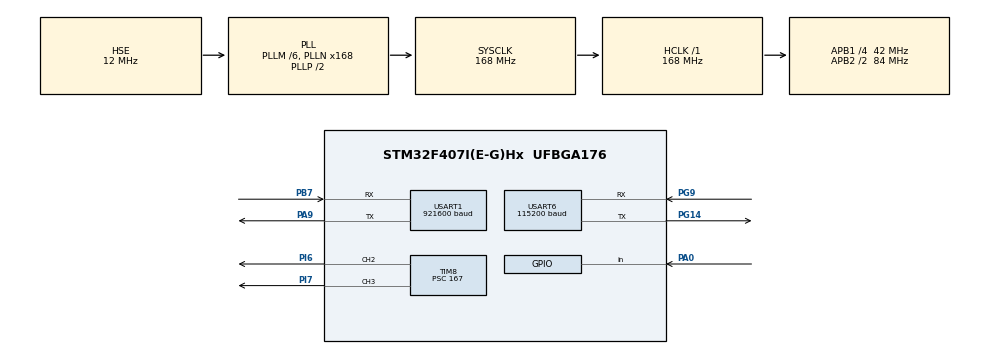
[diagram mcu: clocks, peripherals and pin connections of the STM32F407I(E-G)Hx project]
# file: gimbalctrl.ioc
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Dma.Request0=USART6_TX
Dma.Request1=USART1_RX
Dma.USART1_RX.1.Direction=DMA_PERIPH_TO_MEMORY
Dma.USART1_RX.1.FIFOMode=DMA_FIFOMODE_DISABLE
Dma.USART1_RX.1.Instance=DMA2_Stream2
Dma.USART1_RX.1.MemDataAlignment=DMA_MDATAALIGN_BYTE
Dma.USART1_RX.1.MemInc=DMA_MINC_ENABLE
Dma.USART1_RX.1.Mode=DMA_NORMAL
Dma.USART1_RX.1.PeriphDataAlignment=DMA_PDATAALIGN_BYTE
Dma.USART1_RX.1.PeriphInc=DMA_PINC_DISABLE
Dma.USART1_RX.1.Priority=DMA_PRIORITY_VERY_HIGH
Dma.USART6_TX.0.Direction=DMA_MEMORY_TO_PERIPH
Dma.USART6_TX.0.FIFOMode=DMA_FIFOMODE_DISABLE
Dma.USART6_TX.0.Instance=DMA2_Stream6
Dma.USART6_TX.0.MemDataAlignment=DMA_MDATAALIGN_BYTE
Dma.USART6_TX.0.MemInc=DMA_MINC_ENABLE
Dma.USART6_TX.0.Mode=DMA_NORMAL
Dma.USART6_TX.0.PeriphDataAlignment=DMA_PDATAALIGN_BYTE
Dma.USART6_TX.0.PeriphInc=DMA_PINC_DISABLE
Dma.USART6_TX.0.Priority=DMA_PRIORITY_VERY_HIGH
Mcu.Family=STM32F4
Mcu.Name=STM32F407I(E-G)Hx
Mcu.Package=UFBGA176
NVIC.DMA2_Stream2_IRQn=true\:0\:0\:false\:false\:true\:false\:true\:true
NVIC.DMA2_Stream6_IRQn=true\:0\:0\:false\:false\:true\:false\:true\:true
NVIC.PriorityGroup=NVIC_PRIORITYGROUP_4
NVIC.USART1_IRQn=true\:0\:0\:false\:false\:false\:true\:true\:true
NVIC.USART6_IRQn=true\:0\:0\:false\:false\:false\:true\:true\:true
PA0-WKUP.GPIO_PuPd=GPIO_PULLUP
PA0-WKUP.Signal=GPIO_Input
PA13.Mode=Serial_Wire
PA13.Signal=SYS_JTMS-SWDIO
PA14.Mode=Serial_Wire
PA14.Signal=SYS_JTCK-SWCLK
PA9.Mode=Asynchronous
PA9.Signal=USART1_TX
PB7.Mode=Asynchronous
PB7.Signal=USART1_RX
PG14.Mode=Asynchronous
PG14.Signal=USART6_TX
PG9.Mode=Asynchronous
PG9.Signal=USART6_RX
PH0-OSC_IN.Mode=HSE-External-Oscillator
PH0-OSC_IN.Signal=RCC_OSC_IN
PH1-OSC_OUT.Mode=HSE-External-Oscillator
PH1-OSC_OUT.Signal=RCC_OSC_OUT
PI6.Signal=S_TIM8_CH2
PI7.Signal=S_TIM8_CH3
ProjectManager.HeapSize=0x200
ProjectManager.StackSize=0x400
ProjectManager.TargetToolchain=Makefile
RCC.48MHZClocksFreq_Value=84000000
RCC.AHBFreq_Value=168000000
RCC.APB1CLKDivider=RCC_HCLK_DIV4
RCC.APB1Freq_Value=42000000
RCC.APB1TimFreq_Value=84000000
RCC.APB2CLKDivider=RCC_HCLK_DIV2
RCC.APB2Freq_Value=84000000
RCC.APB2TimFreq_Value=168000000
RCC.CortexFreq_Value=168000000
RCC.HCLKFreq_Value=168000000
RCC.HSE_VALUE=12000000
RCC.HSI_VALUE=16000000
RCC.LSE_VALUE=32768
RCC.PLLM=6
RCC.PLLN=168
RCC.PLLSourceVirtual=RCC_PLLSOURCE_HSE
RCC.SYSCLKFreq_VALUE=168000000
RCC.SYSCLKSource=RCC_SYSCLKSOURCE_PLLCLK
RCC.VCOOutputFreq_Value=336000000
SH.S_TIM8_CH2.0=TIM8_CH2,PWM Generation2 CH2
SH.S_TIM8_CH3.0=TIM8_CH3,PWM Generation3 CH3
TIM8.Channel-PWM\ Generation2\ CH2=TIM_CHANNEL_2
TIM8.Channel-PWM\ Generation3\ CH3=TIM_CHANNEL_3
TIM8.Period=19999
TIM8.Prescaler=167
TIM8.Pulse-PWM\ Generation2\ CH2=500
TIM8.Pulse-PWM\ Generation3\ CH3=500
USART1.BaudRate=921600
USART1.VirtualMode=VM_ASYNC
USART6.BaudRate=115200
USART6.VirtualMode=VM_ASYNC
board=custom

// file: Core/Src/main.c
/* USER CODE BEGIN Header */
/**
 ******************************************************************************
 * @file           : main.c
 * @brief          : Main program body
 ******************************************************************************
 * @attention
 *
 * Copyright (c) 2022 STMicroelectronics.
 * All rights reserved.
 *
 * This software is licensed under terms that can be found in the LICENSE file
 * in the root directory of this software component.
 * If no LICENSE file comes with this software, it is provided AS-IS.
 *
 ******************************************************************************
 */
/* USER CODE END Header */
#include "main.h"
#include "dma.h"
#include "tim.h"
#include "usart.h"
#include "gpio.h"

void SystemClock_Config(void);

int main(void)
{

    /* MCU Configuration--------------------------------------------------------*/

    /* Reset of all peripherals, Initializes the Flash interface and the Systick. */
    HAL_Init();

    /* Configure the system clock */
    SystemClock_Config();

    /* Initialize all configured peripherals */
    MX_GPIO_Init();
    MX_DMA_Init();
    MX_TIM8_Init();
    MX_USART6_UART_Init();
    MX_USART1_UART_Init();
    /* USER CODE BEGIN 2 */

    HAL_Delay(500);
    HAL_TIM_PWM_Start(&htim8, TIM_CHANNEL_2);
    HAL_TIM_PWM_Start(&htim8, TIM_CHANNEL_3);
    /* USER CODE END 2 */

    /* Infinite loop */
    /* USER CODE BEGIN WHILE */
    while (1)
    {

        tofinit();//初始化tof数据的串口DMA接收

        setpitchangle(minpitangle);//初始化pit角度
        HAL_Delay(500);

        setyawangle((minyawangle + maxyawangle) / 2);//深度位置调整
        HAL_Delay(500);
        waitkey();

        setyawangle(minyawangle);//yaw指向起始角度
        HAL_Delay(500);
        waitkey();

        setyawangle(maxyawangle);//yaw指向最终角度
        HAL_Delay(500);
        waitkey();

        for (float i = minyawangle; i <= maxyawangle + 1; i += (maxyawangle - minyawangle) / (yawstep - 1))
        {
            setyawangle(i);//yaw指向初始位置
            HAL_Delay(1000);
            for (float j = minpitangle; j <= maxpitangle + 1; j += (maxpitangle - minpitangle) / (pitstep - 1))
            {
                setpitchangle(j);//pitch指向初始位置
                HAL_Delay(1000);
                sendtopc((i - minyawangle), (j - minpitangle), distance);//向电脑发送数据
                HAL_Delay(100);
            }
        }
        HAL_Delay(1000);
        /* USER CODE END WHILE */

        /* USER CODE BEGIN 3 */
        tofready = 0;
    }
    /* USER CODE END 3 */
}

void SystemClock_Config(void)
{
    RCC_OscInitTypeDef RCC_OscInitStruct = {0};
    RCC_ClkInitTypeDef RCC_ClkInitStruct = {0};

    /** Configure the main internal regulator output voltage
     */
    __HAL_RCC_PWR_CLK_ENABLE();
    __HAL_PWR_VOLTAGESCALING_CONFIG(PWR_REGULATOR_VOLTAGE_SCALE1);

    /** Initializes the RCC Oscillators according to the specified parameters
     * in the RCC_OscInitTypeDef structure.
     */
    RCC_OscInitStruct.OscillatorType = RCC_OSCILLATORTYPE_HSE;
    RCC_OscInitStruct.HSEState       = RCC_HSE_ON;
    RCC_OscInitStruct.PLL.PLLState   = RCC_PLL_ON;
    RCC_OscInitStruct.PLL.PLLSource  = RCC_PLLSOURCE_HSE;
    RCC_OscInitStruct.PLL.PLLM       = 6;
    RCC_OscInitStruct.PLL.PLLN       = 168;
    RCC_OscInitStruct.PLL.PLLP       = RCC_PLLP_DIV2;
    RCC_OscInitStruct.PLL.PLLQ       = 4;
    if (HAL_RCC_OscConfig(&RCC_OscInitStruct) != HAL_OK)
    {
        Error_Handler();
    }

    /** Initializes the CPU, AHB and APB buses clocks
     */
    RCC_ClkInitStruct.ClockType      = RCC_CLOCKTYPE_HCLK | RCC_CLOCKTYPE_SYSCLK | RCC_CLOCKTYPE_PCLK1 | RCC_CLOCKTYPE_PCLK2;
    RCC_ClkInitStruct.SYSCLKSource   = RCC_SYSCLKSOURCE_PLLCLK;
    RCC_ClkInitStruct.AHBCLKDivider  = RCC_SYSCLK_DIV1;
    RCC_ClkInitStruct.APB1CLKDivider = RCC_HCLK_DIV4;
    RCC_ClkInitStruct.APB2CLKDivider = RCC_HCLK_DIV2;

    if (HAL_RCC_ClockConfig(&RCC_ClkInitStruct, FLASH_LATENCY_5) != HAL_OK)
    {
        Error_Handler();
    }
}

/* USER CODE BEGIN 4 */
void setyawangle(float angle)
{
    __HAL_TIM_SET_COMPARE(&htim8, TIM_CHANNEL_2, yawangle2value(angle));
}

void setpitchangle(float angle)
{
    __HAL_TIM_SET_COMPARE(&htim8, TIM_CHANNEL_3, pitangle2value(angle));
}

void waitkey()
{
    while (HAL_GPIO_ReadPin(GPIOA, GPIO_PIN_0) == 1)
    {
        HAL_Delay(100);
    }
}

/* USER CODE END 4 */

void Error_Handler(void)
{
    __disable_irq();
    while (1)
    {
    }
}
